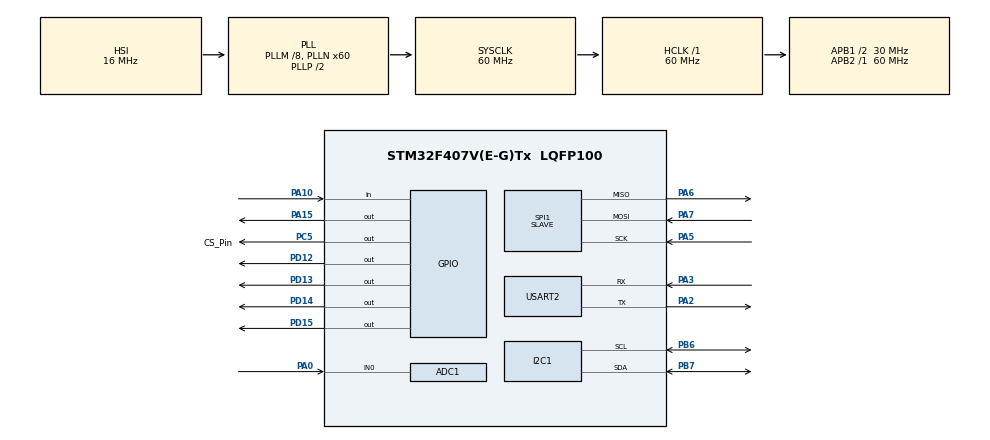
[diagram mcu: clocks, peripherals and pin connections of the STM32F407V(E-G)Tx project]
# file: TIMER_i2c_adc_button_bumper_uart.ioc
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ADC1.Channel-0\#ChannelRegularConversion=ADC_CHANNEL_0
ADC1.NbrOfConversionFlag=1
ADC1.Rank-0\#ChannelRegularConversion=1
ADC1.SamplingTime-0\#ChannelRegularConversion=ADC_SAMPLETIME_3CYCLES
ADC1.master=1
Mcu.Family=STM32F4
Mcu.Name=STM32F407V(E-G)Tx
Mcu.Package=LQFP100
NVIC.PriorityGroup=NVIC_PRIORITYGROUP_4
NVIC.SPI1_IRQn=true\:0\:0\:false\:false\:true\:true\:true
NVIC.TIM1_UP_TIM10_IRQn=true\:0\:0\:false\:false\:true\:true\:true
PA0-WKUP.Signal=ADCx_IN0
PA10.GPIO_PuPd=GPIO_PULLUP
PA10.Signal=GPIO_Input
PA13.Mode=Serial_Wire
PA13.Signal=SYS_JTMS-SWDIO
PA14.Mode=Serial_Wire
PA14.Signal=SYS_JTCK-SWCLK
PA15.Signal=GPIO_Output
PA2.Mode=Asynchronous
PA2.Signal=USART2_TX
PA3.Mode=Asynchronous
PA3.Signal=USART2_RX
PA5.Mode=Full_Duplex_Slave
PA5.Signal=SPI1_SCK
PA6.Mode=Full_Duplex_Slave
PA6.Signal=SPI1_MISO
PA7.Mode=Full_Duplex_Slave
PA7.Signal=SPI1_MOSI
PB6.Mode=I2C
PB6.Signal=I2C1_SCL
PB7.Mode=I2C
PB7.Signal=I2C1_SDA
PC5.GPIO_Label=CS_Pin
PC5.Signal=GPIO_Output
PD12.Signal=GPIO_Output
PD13.Signal=GPIO_Output
PD14.Signal=GPIO_Output
PD15.Signal=GPIO_Output
PH0-OSC_IN.Mode=HSE-External-Oscillator
PH0-OSC_IN.Signal=RCC_OSC_IN
PH1-OSC_OUT.Mode=HSE-External-Oscillator
PH1-OSC_OUT.Signal=RCC_OSC_OUT
ProjectManager.HeapSize=0x200
ProjectManager.StackSize=0x400
ProjectManager.TargetToolchain=MDK-ARM V5.27
RCC.48MHZClocksFreq_Value=30000000
RCC.AHBFreq_Value=60000000
RCC.APB1CLKDivider=RCC_HCLK_DIV2
RCC.APB1Freq_Value=30000000
RCC.APB1TimFreq_Value=60000000
RCC.APB2Freq_Value=60000000
RCC.APB2TimFreq_Value=60000000
RCC.CortexFreq_Value=60000000
RCC.HCLKFreq_Value=60000000
RCC.HSE_VALUE=25000000
RCC.HSI_VALUE=16000000
RCC.LSE_VALUE=32768
RCC.PLLM=8
RCC.PLLN=60
RCC.SYSCLKFreq_VALUE=60000000
RCC.SYSCLKSource=RCC_SYSCLKSOURCE_PLLCLK
RCC.VCOOutputFreq_Value=120000000
SH.ADCx_IN0.0=ADC1_IN0,IN0
SPI1.Direction=SPI_DIRECTION_2LINES
SPI1.Mode=SPI_MODE_SLAVE
SPI1.VirtualType=VM_SLAVE
TIM1.Period=1000
TIM1.Prescaler=60000
TIM1.TIM_MasterOutputTrigger=TIM_TRGO_UPDATE
USART2.VirtualMode=VM_ASYNC
VP_TIM1_VS_ClockSourceINT.Mode=Internal
board=custom

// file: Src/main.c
/* USER CODE BEGIN Header */
/**
  ******************************************************************************
  * @file           : main.c
  * @brief          : Main program body
  ******************************************************************************
  * @attention
  *
  * <h2><center>&copy; Copyright (c) 2020 STMicroelectronics.
  * All rights reserved.</center></h2>
  *
  * This software component is licensed by ST under BSD 3-Clause license,
  * the "License"; You may not use this file except in compliance with the
  * License. You may obtain a copy of the License at:
  *                        opensource.org/licenses/BSD-3-Clause
  *
  ******************************************************************************
  */
/* USER CODE END Header */

#include "main.h"

/* USER CODE BEGIN Includes */

#include "stdio.h"
#include "string.h"

#include "STM_MY_LCD16X2.h"

/* USER CODE END Includes */

/* USER CODE BEGIN PTD */

#ifdef __GNUC__
#define PUTCHAR_PROTOTYPE int __io_putchar(int ch)
#else
#define PUTCHAR_PROTOTYPE int fputc(int ch, FILE *f)
#endif /* __GNUC__ */

#ifdef __GNUC__
#define GETCHAR_PROTOTYPE int __io_getchar (void)
#else
#define GETCHAR_PROTOTYPE int fgetc(FILE * f)
#endif /* __GNUC__ */

/* USER CODE END PTD */

ADC_HandleTypeDef hadc1;

I2C_HandleTypeDef hi2c1;

SPI_HandleTypeDef hspi1;

TIM_HandleTypeDef htim1;

UART_HandleTypeDef huart2;

void SystemClock_Config(void);
static void MX_GPIO_Init(void);
static void MX_TIM1_Init(void);
static void MX_ADC1_Init(void);
static void MX_I2C1_Init(void);
static void MX_USART2_UART_Init(void);
static void MX_SPI1_Init(void);

/* USER CODE BEGIN 0 */

// Clock Vars
int seconds;
int minutes;
int hours;
int days;
// UART Vars
uint8_t UARTmenu=0;
// Alarm Vars
int alarmCnt;
int alarmHrs;
int alarmMin;
int alarmSec;
// SPI Vars
uint8_t SPIbuff[6];
uint8_t SPIhours;
uint8_t SPImins;
uint8_t SPIsecs;

// Function Defs
void letFire(void){
	for (int i=0; i < 3; i++){

			if ( hours == alarmHrs && minutes == alarmMin && seconds == alarmSec ){
				HAL_GPIO_WritePin(GPIOA, GPIO_PIN_15, GPIO_PIN_SET);
				if (alarmSec+30 > 60){
					alarmSec = ((alarmSec + 30)%60)*i;
					alarmMin = alarmMin + 1;
				}
				else{
					alarmSec =   alarmSec + 30 *i;
				}
				printf("ALARM !!!\n");
				lcd_clear_line(1);
				lcd_put_cur(1,0);
				lcd_send_string("ALARM !!!");
			}
			if (alarmCnt == 0 && (hours == alarmHrs && minutes == alarmMin && seconds == (alarmSec-20)) ){

				lcd_clear_line(1);
				lcd_put_cur(1,0);
				lcd_send_string("20 SN ERTELENDI");
				printf("20 SN ERTELENDI\n");
				HAL_GPIO_WritePin(GPIOA, GPIO_PIN_15, GPIO_PIN_RESET);

			}
	}
}

void letWater(void){

	if  ( !HAL_GPIO_ReadPin(GPIOA, GPIO_PIN_10)){
				printf("ALARM IPTAL !!!\n");
				alarmCnt++;
				lcd_clear_line(1);
				alarmHrs=0;
				alarmMin=0;
				alarmSec=0;
				lcd_put_cur(1,0);
				lcd_send_string("ALARM IPTAL !!!");

		}
	if ( alarmCnt > 0 ){
			HAL_GPIO_WritePin(GPIOA, GPIO_PIN_15, GPIO_PIN_RESET);

		}
}

void setAlarm(){
	int hrs;
	int min;
	int sec;
	printf("Alarmi ayarlayin:  \n");
	memset(&hrs, '\0', sizeof(hrs));
	scanf("%d", &hrs);
	memset(&min, '\0', sizeof(min));
	scanf("%d", &min );
	memset(&sec, '\0', sizeof(sec));
	scanf("%d", &sec );
	alarmHrs = hrs;
	alarmMin = min;
	alarmSec = sec;
	alarmCnt = 0;
}

void setClock( ){
	int hrs;
	int min;
	int sec;
	printf("Saati ayarlayin: \n");
	memset(&hrs, '\0', sizeof(hrs));
	scanf("%d", &hrs);
	memset(&min, '\0', sizeof(min));
	scanf("%d", &min );
	memset(&sec, '\0', sizeof(sec));
	scanf("%d", &sec );
	hours = hrs;
	minutes = min;
	seconds = sec;
}

void displayClk(void){
	lcd_put_cur(0,0);
	lcd_send_string("Saat:     :  :   ");
	lcd_put_cur(0,8);
	lcd_PrintInt(hours);
	lcd_put_cur(0,11);
	lcd_PrintInt(minutes);
	lcd_put_cur(0,14);
	lcd_PrintInt(seconds);
}

void displayUart(void){
	HAL_UART_Receive(&huart2, (uint8_t *)&UARTmenu, 1, 0xFFFF);
	printf("Goruntulenecek ekrani secin:\n 1. Saat Ayarlama \n 2. Alarm Ayarlama \n 3. Alarm Goruntuleme\n");
	if ( UARTmenu == 0x31){
		setClock();
	}
	else if ( UARTmenu == 0x32){
		setAlarm();
	}
	else if ( UARTmenu == 0x33){
		printf(" Alarm : %d : %d : %d  \n", alarmHrs, alarmMin , alarmSec);
	}
	else{
		printf("Gecersiz bir secenek girdiniz.\n");
	}
	memset(&UARTmenu, '\0', sizeof(UARTmenu));

}

void clockcor(void){
			if ( seconds > 59){
				seconds = 0;
				minutes ++ ;
				lcd_put_cur(0,15);
				lcd_send_data (' ');

			}
			if ( minutes > 59){
				minutes = 0;
				hours ++;
				lcd_put_cur(0,12);
				lcd_send_data (' ');

			}
			if ( hours > 23){
				hours = 0;
				days ++;
			}
			if ( alarmSec > 59){
				alarmSec = alarmSec%60;

			}
			if ( alarmMin > 59){
				alarmMin = alarmMin%60;

			}
			if ( alarmHrs > 23){
				alarmHrs = alarmHrs%24;

			}
}

/* USER CODE END 0 */

int main(void)
{

  /* MCU Configuration--------------------------------------------------------*/

  /* Reset of all peripherals, Initializes the Flash interface and the Systick. */
  HAL_Init();

  /* Configure the system clock */
  SystemClock_Config();

  /* Initialize all configured peripherals */
  MX_GPIO_Init();
  MX_TIM1_Init();
  MX_ADC1_Init();
  MX_I2C1_Init();
  MX_USART2_UART_Init();
  MX_SPI1_Init();
  /* USER CODE BEGIN 2 */

	HAL_TIM_Base_Start_IT(&htim1);

	lcd_init();
	lcd_clear();

	HAL_SPI_Receive_IT(&hspi1, SPIbuff, 3);

	HAL_Delay(3500);

	SPIhours=	SPIbuff[0];
	SPImins	=	SPIbuff[1];
	SPIsecs	=	SPIbuff[2];

	hours = SPIhours;
	minutes = SPImins;
	seconds = SPIsecs;

  /* USER CODE END 2 */

  /* Infinite loop */
  while (1)
  {

  }
}

void SystemClock_Config(void)
{
  RCC_OscInitTypeDef RCC_OscInitStruct = {0};
  RCC_ClkInitTypeDef RCC_ClkInitStruct = {0};

  /** Configure the main internal regulator output voltage
  */
  __HAL_RCC_PWR_CLK_ENABLE();
  __HAL_PWR_VOLTAGESCALING_CONFIG(PWR_REGULATOR_VOLTAGE_SCALE1);
  /** Initializes the CPU, AHB and APB busses clocks
  */
  RCC_OscInitStruct.OscillatorType = RCC_OSCILLATORTYPE_HSI;
  RCC_OscInitStruct.HSIState = RCC_HSI_ON;
  RCC_OscInitStruct.HSICalibrationValue = RCC_HSICALIBRATION_DEFAULT;
  RCC_OscInitStruct.PLL.PLLState = RCC_PLL_ON;
  RCC_OscInitStruct.PLL.PLLSource = RCC_PLLSOURCE_HSI;
  RCC_OscInitStruct.PLL.PLLM = 8;
  RCC_OscInitStruct.PLL.PLLN = 60;
  RCC_OscInitStruct.PLL.PLLP = RCC_PLLP_DIV2;
  RCC_OscInitStruct.PLL.PLLQ = 4;
  if (HAL_RCC_OscConfig(&RCC_OscInitStruct) != HAL_OK)
  {
    Error_Handler();
  }
  /** Initializes the CPU, AHB and APB busses clocks
  */
  RCC_ClkInitStruct.ClockType = RCC_CLOCKTYPE_HCLK|RCC_CLOCKTYPE_SYSCLK
                              |RCC_CLOCKTYPE_PCLK1|RCC_CLOCKTYPE_PCLK2;
  RCC_ClkInitStruct.SYSCLKSource = RCC_SYSCLKSOURCE_PLLCLK;
  RCC_ClkInitStruct.AHBCLKDivider = RCC_SYSCLK_DIV1;
  RCC_ClkInitStruct.APB1CLKDivider = RCC_HCLK_DIV2;
  RCC_ClkInitStruct.APB2CLKDivider = RCC_HCLK_DIV1;

  if (HAL_RCC_ClockConfig(&RCC_ClkInitStruct, FLASH_LATENCY_1) != HAL_OK)
  {
    Error_Handler();
  }
}

static void MX_ADC1_Init(void)
{

  ADC_ChannelConfTypeDef sConfig = {0};

  /** Configure the global features of the ADC (Clock, Resolution, Data Alignment and number of conversion)
  */
  hadc1.Instance = ADC1;
  hadc1.Init.ClockPrescaler = ADC_CLOCK_SYNC_PCLK_DIV2;
  hadc1.Init.Resolution = ADC_RESOLUTION_12B;
  hadc1.Init.ScanConvMode = DISABLE;
  hadc1.Init.ContinuousConvMode = DISABLE;
  hadc1.Init.DiscontinuousConvMode = DISABLE;
  hadc1.Init.ExternalTrigConvEdge = ADC_EXTERNALTRIGCONVEDGE_NONE;
  hadc1.Init.ExternalTrigConv = ADC_SOFTWARE_START;
  hadc1.Init.DataAlign = ADC_DATAALIGN_RIGHT;
  hadc1.Init.NbrOfConversion = 1;
  hadc1.Init.DMAContinuousRequests = DISABLE;
  hadc1.Init.EOCSelection = ADC_EOC_SINGLE_CONV;
  if (HAL_ADC_Init(&hadc1) != HAL_OK)
  {
    Error_Handler();
  }
  /** Configure for the selected ADC regular channel its corresponding rank in the sequencer and its sample time.
  */
  sConfig.Channel = ADC_CHANNEL_0;
  sConfig.Rank = 1;
  sConfig.SamplingTime = ADC_SAMPLETIME_3CYCLES;
  if (HAL_ADC_ConfigChannel(&hadc1, &sConfig) != HAL_OK)
  {
    Error_Handler();
  }

}

static void MX_I2C1_Init(void)
{

  hi2c1.Instance = I2C1;
  hi2c1.Init.ClockSpeed = 100000;
  hi2c1.Init.DutyCycle = I2C_DUTYCYCLE_2;
  hi2c1.Init.OwnAddress1 = 0;
  hi2c1.Init.AddressingMode = I2C_ADDRESSINGMODE_7BIT;
  hi2c1.Init.DualAddressMode = I2C_DUALADDRESS_DISABLE;
  hi2c1.Init.OwnAddress2 = 0;
  hi2c1.Init.GeneralCallMode = I2C_GENERALCALL_DISABLE;
  hi2c1.Init.NoStretchMode = I2C_NOSTRETCH_DISABLE;
  if (HAL_I2C_Init(&hi2c1) != HAL_OK)
  {
    Error_Handler();
  }

}

static void MX_SPI1_Init(void)
{

  /* SPI1 parameter configuration*/
  hspi1.Instance = SPI1;
  hspi1.Init.Mode = SPI_MODE_SLAVE;
  hspi1.Init.Direction = SPI_DIRECTION_2LINES;
  hspi1.Init.DataSize = SPI_DATASIZE_8BIT;
  hspi1.Init.CLKPolarity = SPI_POLARITY_LOW;
  hspi1.Init.CLKPhase = SPI_PHASE_1EDGE;
  hspi1.Init.NSS = SPI_NSS_SOFT;
  hspi1.Init.FirstBit = SPI_FIRSTBIT_MSB;
  hspi1.Init.TIMode = SPI_TIMODE_DISABLE;
  hspi1.Init.CRCCalculation = SPI_CRCCALCULATION_DISABLE;
  hspi1.Init.CRCPolynomial = 10;
  if (HAL_SPI_Init(&hspi1) != HAL_OK)
  {
    Error_Handler();
  }

}

static void MX_TIM1_Init(void)
{

  TIM_ClockConfigTypeDef sClockSourceConfig = {0};
  TIM_MasterConfigTypeDef sMasterConfig = {0};

  htim1.Instance = TIM1;
  htim1.Init.Prescaler = 60000;
  htim1.Init.CounterMode = TIM_COUNTERMODE_UP;
  htim1.Init.Period = 1000;
  htim1.Init.ClockDivision = TIM_CLOCKDIVISION_DIV1;
  htim1.Init.RepetitionCounter = 0;
  htim1.Init.AutoReloadPreload = TIM_AUTORELOAD_PRELOAD_DISABLE;
  if (HAL_TIM_Base_Init(&htim1) != HAL_OK)
  {
    Error_Handler();
  }
  sClockSourceConfig.ClockSource = TIM_CLOCKSOURCE_INTERNAL;
  if (HAL_TIM_ConfigClockSource(&htim1, &sClockSourceConfig) != HAL_OK)
  {
    Error_Handler();
  }
  sMasterConfig.MasterOutputTrigger = TIM_TRGO_UPDATE;
  sMasterConfig.MasterSlaveMode = TIM_MASTERSLAVEMODE_DISABLE;
  if (HAL_TIMEx_MasterConfigSynchronization(&htim1, &sMasterConfig) != HAL_OK)
  {
    Error_Handler();
  }

}

static void MX_USART2_UART_Init(void)
{

  huart2.Instance = USART2;
  huart2.Init.BaudRate = 115200;
  huart2.Init.WordLength = UART_WORDLENGTH_8B;
  huart2.Init.StopBits = UART_STOPBITS_1;
  huart2.Init.Parity = UART_PARITY_NONE;
  huart2.Init.Mode = UART_MODE_TX_RX;
  huart2.Init.HwFlowCtl = UART_HWCONTROL_NONE;
  huart2.Init.OverSampling = UART_OVERSAMPLING_16;
  if (HAL_UART_Init(&huart2) != HAL_OK)
  {
    Error_Handler();
  }

}

static void MX_GPIO_Init(void)
{
  GPIO_InitTypeDef GPIO_InitStruct = {0};

  /* GPIO Ports Clock Enable */
  __HAL_RCC_GPIOH_CLK_ENABLE();
  __HAL_RCC_GPIOA_CLK_ENABLE();
  __HAL_RCC_GPIOC_CLK_ENABLE();
  __HAL_RCC_GPIOD_CLK_ENABLE();
  __HAL_RCC_GPIOB_CLK_ENABLE();

  /*Configure GPIO pin Output Level */
  HAL_GPIO_WritePin(CS_Pin_GPIO_Port, CS_Pin_Pin, GPIO_PIN_RESET);

  /*Configure GPIO pin Output Level */
  HAL_GPIO_WritePin(GPIOD, GPIO_PIN_12|GPIO_PIN_13|GPIO_PIN_14|GPIO_PIN_15, GPIO_PIN_RESET);

  /*Configure GPIO pin Output Level */
  HAL_GPIO_WritePin(GPIOA, GPIO_PIN_15, GPIO_PIN_RESET);

  /*Configure GPIO pin : CS_Pin_Pin */
  GPIO_InitStruct.Pin = CS_Pin_Pin;
  GPIO_InitStruct.Mode = GPIO_MODE_OUTPUT_PP;
  GPIO_InitStruct.Pull = GPIO_NOPULL;
  GPIO_InitStruct.Speed = GPIO_SPEED_FREQ_LOW;
  HAL_GPIO_Init(CS_Pin_GPIO_Port, &GPIO_InitStruct);

  /*Configure GPIO pins : PD12 PD13 PD14 PD15 */
  GPIO_InitStruct.Pin = GPIO_PIN_12|GPIO_PIN_13|GPIO_PIN_14|GPIO_PIN_15;
  GPIO_InitStruct.Mode = GPIO_MODE_OUTPUT_PP;
  GPIO_InitStruct.Pull = GPIO_NOPULL;
  GPIO_InitStruct.Speed = GPIO_SPEED_FREQ_LOW;
  HAL_GPIO_Init(GPIOD, &GPIO_InitStruct);

  /*Configure GPIO pin : PA10 */
  GPIO_InitStruct.Pin = GPIO_PIN_10;
  GPIO_InitStruct.Mode = GPIO_MODE_INPUT;
  GPIO_InitStruct.Pull = GPIO_PULLUP;
  HAL_GPIO_Init(GPIOA, &GPIO_InitStruct);

  /*Configure GPIO pin : PA15 */
  GPIO_InitStruct.Pin = GPIO_PIN_15;
  GPIO_InitStruct.Mode = GPIO_MODE_OUTPUT_PP;
  GPIO_InitStruct.Pull = GPIO_NOPULL;
  GPIO_InitStruct.Speed = GPIO_SPEED_FREQ_LOW;
  HAL_GPIO_Init(GPIOA, &GPIO_InitStruct);

}

/* USER CODE BEGIN 4 */

PUTCHAR_PROTOTYPE
{
  HAL_UART_Transmit(&huart2, (uint8_t *)&ch, 1, 0xFFFF);
  return ch;
}

GETCHAR_PROTOTYPE
{
  uint8_t ch = 0;
  // Clear the Overrun flag just before receiving the first character
  __HAL_UART_CLEAR_OREFLAG(&huart2);

  HAL_UART_Receive(&huart2, (uint8_t *)&ch, 1, 0xFFFF);
  HAL_UART_Transmit(&huart2, (uint8_t *)&ch, 1, 0xFFFF);
  return ch;
}

void HAL_TIM_PeriodElapsedCallback(TIM_HandleTypeDef *htim)
{
  /* Prevent unused argument(s) compilation warning */
  UNUSED(htim);

	HAL_GPIO_TogglePin(GPIOD, GPIO_PIN_12);

	seconds ++;
	clockcor();
	printf(" %d : %d : %d  \n", hours, minutes, seconds);
	displayClk();
	letFire();
	letWater();

}
void HAL_SPI_RxCpltCallback(SPI_HandleTypeDef *hspi)
{
  /* Prevent unused argument(s) compilation warning */
  UNUSED(hspi);

  /* NOTE : This function should not be modified, when the callback is needed,
            the HAL_SPI_TxCpltCallback should be implemented in the user file
   */
}

/* USER CODE END 4 */

void Error_Handler(void)
{
}

/************************ (C) COPYRIGHT STMicroelectronics *****END OF FILE****/
